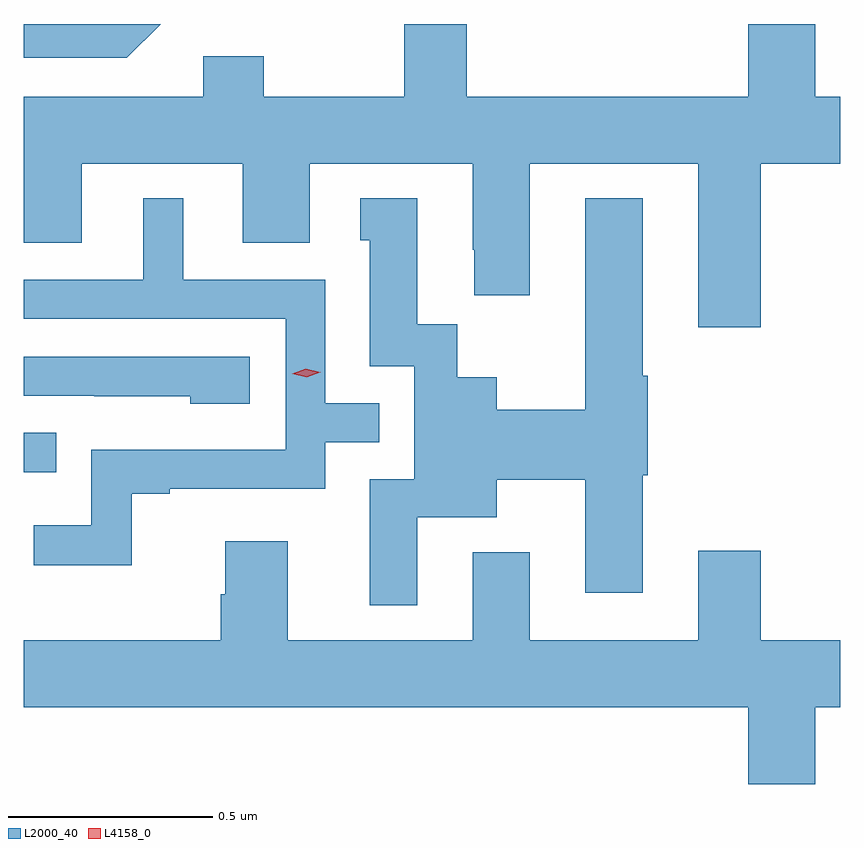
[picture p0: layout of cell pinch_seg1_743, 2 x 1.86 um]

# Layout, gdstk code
import gdstk
lib = gdstk.Library(unit=1e-6, precision=1e-09)
def R(c, l, rs):  # rectangles x0, y0, x1, y1
    for r in rs: c.add(gdstk.rectangle(r[:2], r[2:], *l))
def P(c, l, *ps):  # polygons
    for p in ps: c.add(gdstk.Polygon(p, *l))
L2000_40 = (2000, 40)
L4158_0 = (4158, 0)

pinch_seg1_743 = lib.new_cell('pinch_seg1_743')
R(pinch_seg1_743, L2000_40, [(738.657,537.656,738.737,537.753)])
P(pinch_seg1_743, L2000_40, [(740.462,538.412),(740.657,538.412),(740.657,538.576),(740.596,538.576),(740.596,538.754),(740.432,538.754),(740.432,538.576),(739.742,538.576),(739.742,538.754),(739.589,538.754),(739.589,538.576),(739.245,538.576),(739.245,538.675),(739.097,538.675),(739.097,538.576),(738.657,538.576),(738.657,538.218),(738.799,538.218),(738.799,538.412),(739.193,538.412),(739.193,538.218),(739.357,538.218),(739.357,538.412),(739.757,538.412),(739.757,538.201),(739.76,538.201),(739.76,538.089),(739.897,538.089),(739.897,538.412),(740.309,538.412),(740.309,538.011),(740.462,538.011)],
  [(738.992,538.754),(738.657,538.754),(738.657,538.671),(738.909,538.671)],
  [(738.921,537.603),(739.015,537.603),(739.015,537.615),(739.395,537.615),(739.395,537.729),(739.528,537.729),(739.528,537.825),(739.395,537.825),(739.395,538.128),(739.048,538.128),(739.048,538.327),(738.95,538.327),(738.95,538.128),(738.657,538.128),(738.657,538.032),(739.299,538.032),(739.299,537.711),(738.822,537.711),(738.822,537.526),(738.681,537.526),(738.681,537.428),(738.921,537.428)],
  [(739.621,537.545),(739.816,537.545),(739.816,537.637),(740.033,537.637),(740.033,537.36),(740.173,537.36),(740.173,537.648),(740.186,537.648),(740.186,537.892),(740.173,537.892),(740.173,538.327),(740.033,538.327),(740.033,537.809),(739.816,537.809),(739.816,537.889),(739.719,537.889),(739.719,538.019),(739.621,538.019),(739.621,538.327),(739.481,538.327),(739.481,538.224),(739.505,538.224),(739.505,537.915),(739.614,537.915),(739.614,537.639),(739.505,537.639),(739.505,537.33),(739.621,537.33)],
  [(739.21,537.939),(738.657,537.939),(738.657,537.843),(738.829,537.843),(738.829,537.842),(739.065,537.842),(739.065,537.824),(739.21,537.824)],
  [(740.432,536.892),(740.596,536.892),(740.596,537.08),(740.657,537.08),(740.657,537.244),(740.462,537.244),(740.462,537.463),(740.309,537.463),(740.309,537.244),(739.897,537.244),(739.897,537.46),(739.757,537.46),(739.757,537.244),(739.303,537.244),(739.303,537.487),(739.151,537.487),(739.151,537.357),(739.139,537.357),(739.139,537.244),(738.657,537.244),(738.657,537.08),(740.432,537.08)])
P(pinch_seg1_743, L4158_0, [(739.35,537.889),(739.314,537.897),(739.314,537.897),(739.314,537.897),(739.348,537.909),(739.383,537.901),(739.384,537.901),(739.383,537.901)])

lib.write_gds('pinch_seg1_743.gds')
